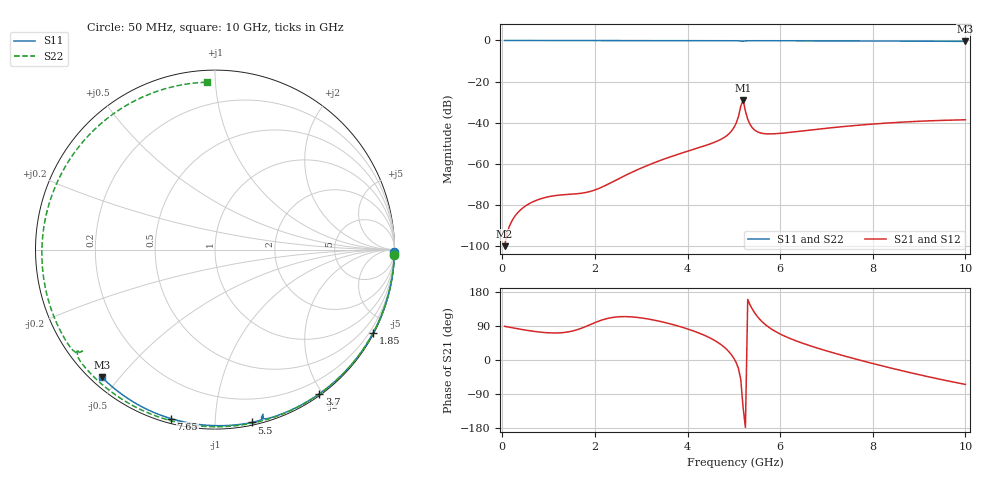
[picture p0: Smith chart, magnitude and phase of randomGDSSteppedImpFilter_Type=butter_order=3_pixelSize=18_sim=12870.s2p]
! freq	dB(S11)	phase(S11)	dB(S12)	phase(S12)
!  dB(S21)	phase(S21)	dB(S22)	phase(S22)
!S-par simulation data
#  GHz  S  DB  R 50
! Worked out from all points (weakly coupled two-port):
!   200 points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, 50 MHz to 10 GHz, reference 50 ohm
!   highest |S21| = -28.96 dB at 5.2 GHz (marker M1); lowest = -99.9 dB at 50 MHz (marker M2)
!   lowest |S11| = -0.4 dB at 10 GHz (marker M3), VSWR 39.09, Z = 1.54 - j22.4 ohm
!   |S11| at or under -10 dB: nowhere
!   |S22| runs from -0.6 to 0.0 dB; largest |S21 - S12| = 0
!   S11 on the Smith chart (normalised r, x): 50 MHz: open; 1.85 GHz: 0.04, -4.05; 3.7 GHz: 0.02, -1.96; 5.5 GHz: 0.02, -1.24; 7.65 GHz: 0.02, -0.77; 10 GHz: 0.03, -0.45
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0.05  -0.00 -0.8  -99.94 88.8  -99.94 88.8  -0.00 -1.6
0.5  -0.01 -7.6  -80.43 78.9  -80.43 78.9  -0.02 -15.7
0.85  -0.02 -12.8  -76.77 73.2  -76.77 73.2  -0.03 -26.6
1.75  -0.03 -26.2  -74.08 85.7  -74.08 85.7  -0.07 -53.7
1.85  -0.04 -27.7  -73.64 90.8  -73.64 90.8  -0.07 -56.6
2.6  -0.05 -38.6  -66.21 114.5  -66.21 114.5  -0.10 -77.8
3.4  -0.07 -50.0  -58.38 102.1  -58.38 102.1  -0.12 -99.2
3.7  -0.07 -54.2  -56.01 93.0  -56.01 93.0  -0.14 -106.9
4.7  -0.10 -67.8  -48.28 42.6  -48.28 42.6  -0.18 -131.6
4.9  -0.11 -70.6  -45.23 21.0  -45.23 21.0  -0.20 -136.5
5.05  -0.13 -72.8  -40.17 -6.7  -40.17 -6.7  -0.22 -140.4
5.15  -0.25 -74.6  -31.93 -52.0  -31.93 -52.0  -0.40 -143.6
5.2  -0.39 -73.7  -28.96 -125.8  -28.96 -125.8  -0.63 -142.5
5.3  -0.15 -75.0  -38.29 160.0  -38.29 160.0  -0.26 -144.7
5.4  -0.13 -76.5  -42.44 134.0  -42.44 134.0  -0.23 -147.5
5.5  -0.13 -77.9  -44.26 116.0  -44.26 116.0  -0.23 -150.0
5.8  -0.14 -81.8  -45.39 82.6  -45.39 82.6  -0.25 -157.1
6.7  -0.18 -93.1  -43.39 35.4  -43.39 35.4  -0.31 -178.4
7.65  -0.24 -104.6  -41.26 1.9  -41.26 1.9  -0.39 158.5
8.35  -0.29 -112.8  -40.06 -20.0  -40.06 -20.0  -0.45 140.4
9.25  -0.37 -123.1  -39.02 -45.6  -39.02 -45.6  -0.53 115.5
10  -0.44 -131.6  -38.54 -64.4  -38.54 -64.4  -0.60 92.8
